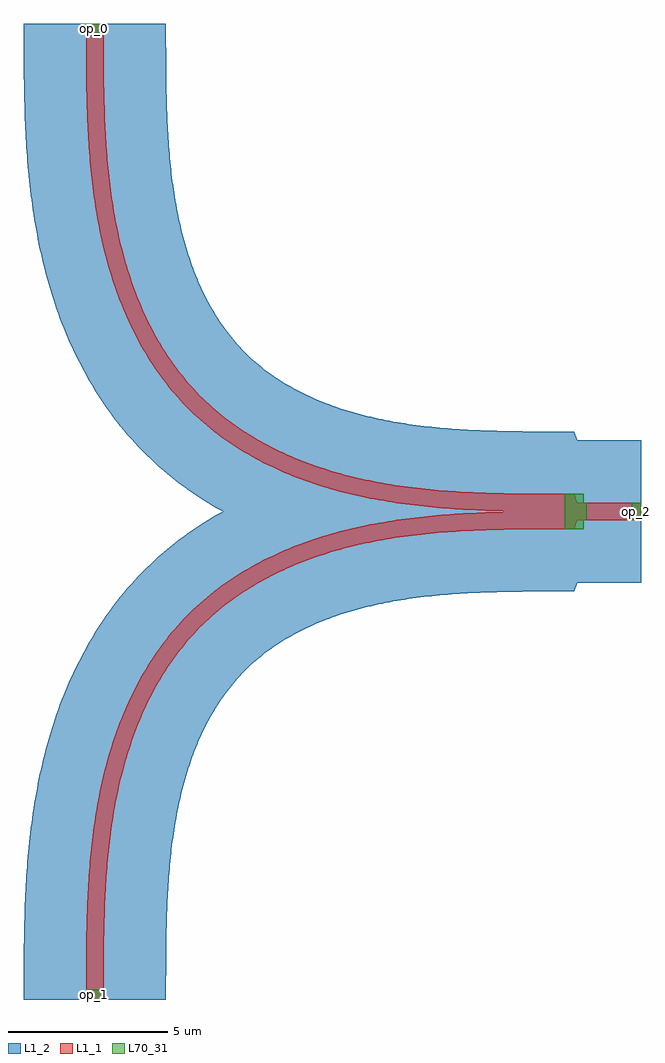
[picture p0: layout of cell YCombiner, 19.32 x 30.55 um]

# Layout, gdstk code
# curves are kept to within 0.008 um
from math import pi, radians
import gdstk
lib = gdstk.Library(unit=1e-6, precision=1e-09)
def R(c, l, rs):  # rectangles x0, y0, x1, y1
    for r in rs: c.add(gdstk.rectangle(r[:2], r[2:], *l))
def P(c, l, *ps):  # polygons
    for p in ps: c.add(gdstk.Polygon(p, *l))
L1_1 = (1, 1)
L1_2 = (1, 2)
L70_31 = (70, 31)

wg_x2 = lib.new_cell('wg_x2')
R(wg_x2, L1_1, [(-2,-0.275,0,0.275)])
P(wg_x2, L1_2, [(-2,2.225),(0,2.225),(0,0.275),(0,-0.275),(0,-2.225),(-2,-2.225),(-2,-0.275),(-2,0.275)])
R(wg_x2, L70_31, [(-2,-0.275,-1.7,0.275), (-0.3,-0.275,0,0.275)])
wg_x2.add(gdstk.Label('op_0', (-1.85,0), layer=70, texttype=41))
wg_x2.add(gdstk.Label('op_1', (-0.15,0), layer=70, texttype=41))

straight = lib.new_cell('Straight')
R(straight, L70_31, [(-2,-0.275,-1.7,0.275), (-0.3,-0.275,0,0.275)])
straight.add(gdstk.Reference(wg_x2, (0,0)))
straight.add(gdstk.Label('op_0', (-1.85,0), layer=70, texttype=41))
straight.add(gdstk.Label('op_1', (-0.15,0), layer=70, texttype=41))

c_wg = lib.new_cell('wg')
P(c_wg, L1_1, [(-0.1,0.275),(0,0.55),(0,-0.55),(-0.1,-0.275)])
P(c_wg, L1_2, [(-0.1,2.225),(0,2.5),(0,0.55),(0,-0.55),(0,-2.5),(-0.1,-2.225),(-0.1,-0.275),(-0.1,0.275)])
R(c_wg, L70_31, [(-0.3,-0.55,0,0.55), (-0.1,-0.275,0.2,0.275)])
c_wg.add(gdstk.Label('op_0', (0.05,0), layer=70, texttype=41))
c_wg.add(gdstk.Label('op_1', (-0.15,0), layer=70, texttype=41))

taperlinear = lib.new_cell('TaperLinear')
R(taperlinear, L70_31, [(-0.3,-0.55,0,0.55), (-0.1,-0.275,0.2,0.275)])
taperlinear.add(gdstk.Reference(c_wg, (0,0)))
taperlinear.add(gdstk.Label('op_0', (0.05,0), layer=70, texttype=41))
taperlinear.add(gdstk.Label('op_1', (-0.15,0), layer=70, texttype=41))

wg_x1 = lib.new_cell('wg_x1')
P(wg_x1, L1_1, [(0,0.275),(1.515,0.279),(2.475,0.296),(3.432,0.335),(4.113,0.381),(4.792,0.446),(5.601,0.553),(6.269,0.67),(7.061,0.849),(7.712,1.032),(8.35,1.249),(8.973,1.503),(9.578,1.795),(10.16,2.127),(10.606,2.422),(11.033,2.743),(11.536,3.182),(11.909,3.562),(12.257,3.967),(12.578,4.394),(12.873,4.84),(13.142,5.304),(13.442,5.905),(13.703,6.524),(13.928,7.16),(14.151,7.939),(14.33,8.731),(14.467,9.534),(14.582,10.479),(14.657,11.431),(14.695,12.251),(14.721,13.485),(14.725,15),(15.275,15),(15.257,12.648),(15.228,11.815),(15.167,10.842),(15.068,9.87),(14.968,9.177),(14.842,8.487),(14.649,7.667),(14.407,6.857),(14.164,6.195),(13.882,5.547),(13.557,4.918),(13.188,4.312),(12.86,3.847),(12.504,3.403),(12.017,2.882),(11.488,2.405),(10.923,1.972),(10.328,1.586),(9.707,1.243),(8.936,0.889),(8.276,0.638),(7.469,0.388),(6.65,0.187),(5.961,0.055),(5.269,-0.05),(4.436,-0.143),(3.88,-0.188),(3.185,-0.228),(2.352,-0.257),(0,-0.275)])
P(wg_x1, L1_2, [(0,2.225),(1.895,2.234),(3.325,2.282),(3.956,2.325),(4.698,2.398),(5.303,2.48),(5.893,2.584),(6.467,2.71),(7.025,2.861),(7.669,3.076),(8.081,3.241),(8.478,3.424),(8.86,3.624),(9.311,3.899),(9.65,4.138),(10.12,4.527),(10.473,4.88),(10.8,5.268),(11.158,5.777),(11.428,6.234),(11.715,6.818),(11.924,7.331),(12.171,8.085),(12.369,8.876),(12.481,9.46),(12.602,10.302),(12.675,11.044),(12.731,11.931),(12.758,12.71),(12.775,15),(17.225,15),(17.219,13.319),(17.188,12.018),(17.133,10.984),(17.055,10.083),(16.917,9.017),(16.752,8.094),(16.534,7.167),(16.257,6.239),(15.913,5.317),(15.57,4.56),(15.174,3.817),(14.72,3.095),(14.419,2.675),(14.206,2.401),(13.868,2.001),(13.631,1.743),(13.384,1.491),(12.999,1.132),(12.734,0.904),(12.325,0.581),(11.905,0.28),(11.329,-0.088),(10.74,-0.418),(10.139,-0.714),(9.53,-0.975),(8.761,-1.257),(7.988,-1.492),(7.369,-1.65),(6.751,-1.783),(5.83,-1.94),(4.917,-2.055),(4.165,-2.122),(3.423,-2.169),(2.544,-2.203),(1.539,-2.221),(0,-2.225)])
R(wg_x1, L70_31, [(0,-0.275,0.3,0.275), (14.725,14.7,15.275,15)])
wg_x1.add(gdstk.Label('op_0', (0.15,0), layer=70, texttype=41))
wg_x1.add(gdstk.Label('op_1', (15,14.85), layer=70, texttype=41))

bendeuler = lib.new_cell('BendEuler')
R(bendeuler, L70_31, [(0,-0.275,0.3,0.275), (14.725,14.7,15.275,15)])
bendeuler.add(gdstk.Reference(wg_x1, (0,0)))
bendeuler.add(gdstk.Label('op_0', (0.15,0), layer=70, texttype=41))
bendeuler.add(gdstk.Label('op_1', (15,14.85), layer=70, texttype=41))

ysplitter = lib.new_cell('YSplitter')
R(ysplitter, L70_31, [(14.725,-15.275,15.275,-14.975), (-2.1,-0.275,-1.8,0.275), (14.725,14.975,15.275,15.275)])
ysplitter.add(gdstk.Reference(straight, (-0.1,0)))
ysplitter.add(gdstk.Reference(taperlinear, (0,0)))
ysplitter.add(gdstk.Reference(bendeuler, (0,0.275)))
ysplitter.add(gdstk.Reference(bendeuler, (0,-0.275), x_reflection=True))
ysplitter.add(gdstk.Label('op_0', (-1.95,0), layer=70, texttype=41))
ysplitter.add(gdstk.Label('op_1', (15,-15.125), layer=70, texttype=41))
ysplitter.add(gdstk.Label('op_2', (15,15.125), layer=70, texttype=41))

ycombiner = lib.new_cell('YCombiner')
R(ycombiner, L70_31, [(-15.275,-15.275,-14.725,-14.975), (1.8,-0.275,2.1,0.275), (-15.275,14.975,-14.725,15.275)])
ycombiner.add(gdstk.Reference(ysplitter, (0,0), rotation=pi, x_reflection=True))
ycombiner.add(gdstk.Label('op_0', (-15,15.125), layer=70, texttype=41))
ycombiner.add(gdstk.Label('op_1', (-15,-15.125), layer=70, texttype=41))
ycombiner.add(gdstk.Label('op_2', (1.95,0), layer=70, texttype=41))

lib.write_gds('YCombiner.gds')
